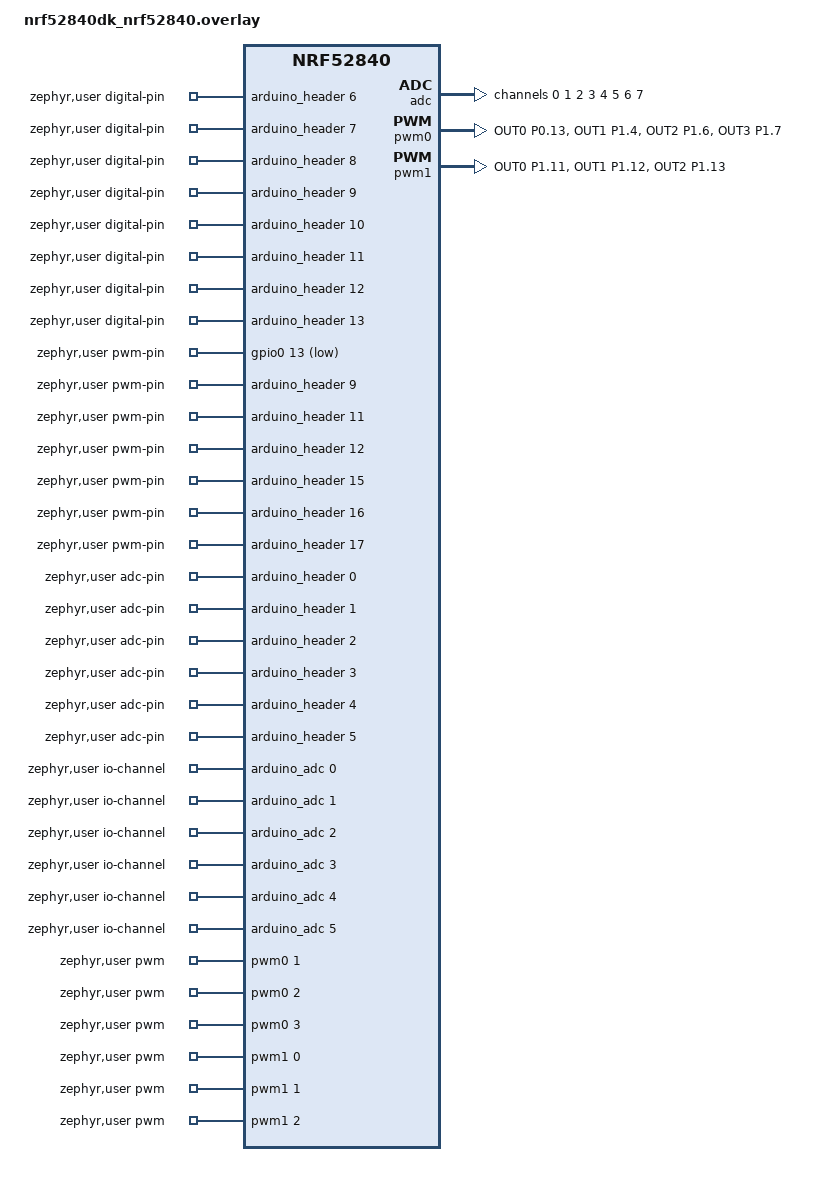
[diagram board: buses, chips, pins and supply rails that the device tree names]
/ {
	zephyr,user {
		digital-pin-gpios = <&arduino_header 6 0>,	/* Digital */
				    <&arduino_header 7 0>,
				    <&arduino_header 8 0>,
				    <&arduino_header 9 0>,
				    <&arduino_header 10 0>,
				    <&arduino_header 11 0>,
				    <&arduino_header 12 0>,
				    <&arduino_header 13 0>,
				    <&arduino_header 14 0>,
				    <&arduino_header 15 0>,
				    <&arduino_header 16 0>,
				    <&arduino_header 17 0>,
				    <&arduino_header 18 0>,
				    <&arduino_header 19 0>,
				    <&arduino_header 20 0>,
				    <&arduino_header 21 0>,
				    <&arduino_header 0 0>,	/* Analog */
				    <&arduino_header 1 0>,
				    <&arduino_header 2 0>,
				    <&arduino_header 3 0>,
				    <&arduino_header 4 0>,
				    <&arduino_header 5 0>,
				    <&gpio0 13 GPIO_ACTIVE_LOW>;

		pwm-pin-gpios =     <&gpio0 13 GPIO_ACTIVE_LOW>,
				    <&arduino_header 9 0>,
				    <&arduino_header 11 0>,
				    <&arduino_header 12 0>,
				    <&arduino_header 15 0>,
				    <&arduino_header 16 0>,
				    <&arduino_header 17 0>;

		adc-pin-gpios =	    <&arduino_header 0 0>,
				    <&arduino_header 1 0>,
				    <&arduino_header 2 0>,
				    <&arduino_header 3 0>,
				    <&arduino_header 4 0>,
				    <&arduino_header 5 0>;

		pwms =	<&pwm0 1 255 PWM_POLARITY_NORMAL>,
			<&pwm0 2 255 PWM_POLARITY_NORMAL>,
			<&pwm0 3 255 PWM_POLARITY_NORMAL>,
			<&pwm1 0 255 PWM_POLARITY_NORMAL>,
			<&pwm1 1 255 PWM_POLARITY_NORMAL>,
			<&pwm1 2 255 PWM_POLARITY_NORMAL>;

		io-channels =	<&arduino_adc 0>,
				<&arduino_adc 1>,
				<&arduino_adc 2>,
				<&arduino_adc 3>,
				<&arduino_adc 4>,
				<&arduino_adc 5>;
	};
};

&adc {
	#address-cells = <1>;
	#size-cells = <0>;

	channel@0 {
		reg = <0>;
		zephyr,gain = "ADC_GAIN_1_6";
		zephyr,reference = "ADC_REF_INTERNAL";
		zephyr,acquisition-time = <ADC_ACQ_TIME_DEFAULT>;
		zephyr,input-positive = <NRF_SAADC_AIN0>; /* P0.02 */
		zephyr,resolution = <10>;
	};

	channel@1 {
		reg = <1>;
		zephyr,gain = "ADC_GAIN_1_6";
		zephyr,reference = "ADC_REF_INTERNAL";
		zephyr,acquisition-time = <ADC_ACQ_TIME_DEFAULT>;
		zephyr,input-positive = <NRF_SAADC_AIN1>; /* P0.03 */
		zephyr,resolution = <10>;
	};

	channel@2 {
		reg = <2>;
		zephyr,gain = "ADC_GAIN_1_6";
		zephyr,reference = "ADC_REF_INTERNAL";
		zephyr,acquisition-time = <ADC_ACQ_TIME_DEFAULT>;
		zephyr,input-positive = <NRF_SAADC_AIN2>; /* P0.04 */
		zephyr,resolution = <10>;
	};

	channel@3 {
		reg = <3>;
		zephyr,gain = "ADC_GAIN_1_6";
		zephyr,reference = "ADC_REF_INTERNAL";
		zephyr,acquisition-time = <ADC_ACQ_TIME_DEFAULT>;
		zephyr,input-positive = <NRF_SAADC_AIN3>; /* P0.05 */
		zephyr,resolution = <10>;
	};

	channel@4 {
		reg = <4>;
		zephyr,gain = "ADC_GAIN_1_6";
		zephyr,reference = "ADC_REF_INTERNAL";
		zephyr,acquisition-time = <ADC_ACQ_TIME_DEFAULT>;
		zephyr,input-positive = <NRF_SAADC_AIN4>; /* P0.28 */
		zephyr,resolution = <10>;
	};

	channel@5 {
		reg = <5>;
		zephyr,gain = "ADC_GAIN_1_6";
		zephyr,reference = "ADC_REF_INTERNAL";
		zephyr,acquisition-time = <ADC_ACQ_TIME_DEFAULT>;
		zephyr,input-positive = <NRF_SAADC_AIN5>; /* P0.29 */
		zephyr,resolution = <10>;
	};

	channel@6 {
		reg = <6>;
		zephyr,gain = "ADC_GAIN_1_6";
		zephyr,reference = "ADC_REF_INTERNAL";
		zephyr,acquisition-time = <ADC_ACQ_TIME_DEFAULT>;
		zephyr,input-positive = <NRF_SAADC_AIN6>; /* P0.30 */
		zephyr,resolution = <10>;
	};

	channel@7 {
		reg = <7>;
		zephyr,gain = "ADC_GAIN_1_6";
		zephyr,reference = "ADC_REF_INTERNAL";
		zephyr,acquisition-time = <ADC_ACQ_TIME_DEFAULT>;
		zephyr,input-positive = <NRF_SAADC_AIN7>; /* P0.31 */
		zephyr,resolution = <10>;
	};
};

&pinctrl {
	pwm0_default: pwm0_default {
		group1 {
			psels = <NRF_PSEL(PWM_OUT0, 0, 13)>, /* keep original config */
				<NRF_PSEL(PWM_OUT1, 1, 4)>,
				<NRF_PSEL(PWM_OUT2, 1, 6)>,
				<NRF_PSEL(PWM_OUT3, 1, 7)>;
				nordic,invert;
		};
	};

	pwm0_sleep: pwm0_sleep {
		group1 {
			psels = <NRF_PSEL(PWM_OUT0, 0, 13)>, /* keep original config */
				<NRF_PSEL(PWM_OUT1, 1, 4)>,
				<NRF_PSEL(PWM_OUT2, 1, 6)>,
				<NRF_PSEL(PWM_OUT3, 1, 7)>;
				low-power-enable;
		};
	};

	pwm1_default: pwm1_default {
		group1 {
			psels = <NRF_PSEL(PWM_OUT0, 1, 11)>,
				<NRF_PSEL(PWM_OUT1, 1, 12)>,
				<NRF_PSEL(PWM_OUT2, 1, 13)>;
				nordic,invert;
		};
	};

	pwm1_sleep: pwm1_sleep {
		group1 {
			psels = <NRF_PSEL(PWM_OUT0, 1, 11)>,
				<NRF_PSEL(PWM_OUT1, 1, 12)>,
				<NRF_PSEL(PWM_OUT2, 1, 13)>;
				low-power-enable;
		};
	};
};

&pwm0 {
	status = "okay";
	pinctrl-0 = <&pwm0_default>;
	pinctrl-1 = <&pwm0_sleep>;
	pinctrl-names = "default", "sleep";
};

&pwm1 {
	status = "okay";
	pinctrl-0 = <&pwm1_default>;
	pinctrl-1 = <&pwm1_sleep>;
	pinctrl-names = "default", "sleep";
};
